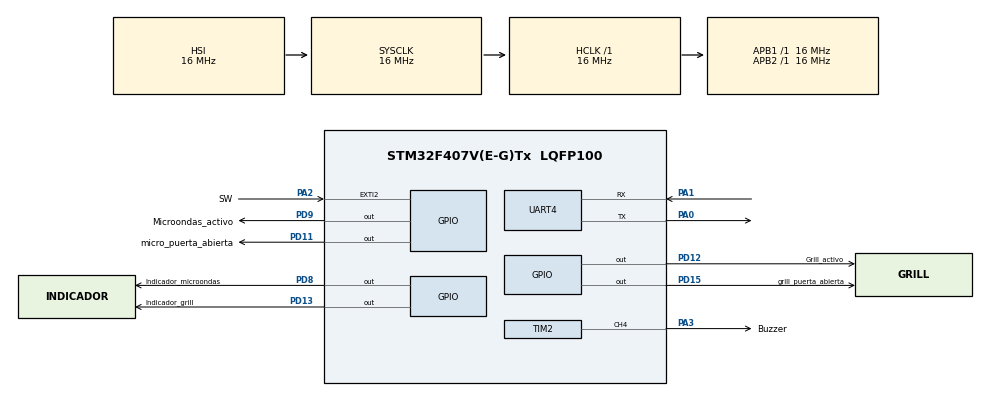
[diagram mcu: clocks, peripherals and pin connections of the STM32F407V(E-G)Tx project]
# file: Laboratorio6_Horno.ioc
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Mcu.Family=STM32F4
Mcu.Name=STM32F407V(E-G)Tx
Mcu.Package=LQFP100
NVIC.EXTI2_IRQn=true\:0\:0\:false\:false\:true\:true\:true\:true
NVIC.PriorityGroup=NVIC_PRIORITYGROUP_4
NVIC.TIM2_IRQn=true\:0\:0\:false\:false\:true\:true\:true\:true
NVIC.UART4_IRQn=true\:0\:0\:false\:false\:true\:true\:true\:true
PA0-WKUP.Mode=Asynchronous
PA0-WKUP.Signal=UART4_TX
PA1.Mode=Asynchronous
PA1.Signal=UART4_RX
PA2.GPIO_Label=SW
PA2.GPIO_ModeDefaultEXTI=GPIO_MODE_IT_FALLING
PA2.Signal=GPXTI2
PA3.GPIO_Label=Buzzer
PA3.Signal=S_TIM2_CH4
PD11.GPIO_Label=micro_puerta_abierta
PD11.Signal=GPIO_Output
PD12.GPIO_Label=Grill_activo
PD12.Signal=GPIO_Output
PD13.GPIO_Label=Indicador_grill
PD13.Signal=GPIO_Output
PD15.GPIO_Label=grill_puerta_abierta
PD15.Signal=GPIO_Output
PD8.GPIO_Label=Indicador_microondas
PD8.Signal=GPIO_Output
PD9.GPIO_Label=Microondas_activo
PD9.Signal=GPIO_Output
ProjectManager.HeapSize=0x200
ProjectManager.StackSize=0x400
ProjectManager.TargetToolchain=STM32CubeIDE
RCC.AHBFreq_Value=16000000
RCC.APB1Freq_Value=16000000
RCC.APB2Freq_Value=16000000
RCC.CortexFreq_Value=16000000
RCC.HSE_VALUE=25000000
RCC.HSI_VALUE=16000000
RCC.LSE_VALUE=32768
RCC.SYSCLKFreq_VALUE=16000000
RCC.VCOOutputFreq_Value=192000000
SH.S_TIM2_CH4.0=TIM2_CH4,PWM Generation4 CH4
TIM2.Channel-PWM\ Generation4\ CH4=TIM_CHANNEL_4
TIM2.Period=7999
TIM2.Pulse-PWM\ Generation4\ CH4=4000
UART4.VirtualMode=Asynchronous
VP_TIM2_VS_ClockSourceINT.Mode=Internal
board=custom

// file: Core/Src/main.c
/* USER CODE BEGIN Header */
/**
  ******************************************************************************
  * @file           : main.c
  * @brief          : Main program body
  ******************************************************************************
  * @attention
  *
  * Copyright (c) 2026 STMicroelectronics.
  * All rights reserved.
  *
  * This software is licensed under terms that can be found in the LICENSE file
  * in the root directory of this software component.
  * If no LICENSE file comes with this software, it is provided AS-IS.
  *
  ******************************************************************************
  */
/* USER CODE END Header */
#include "main.h"

/* USER CODE BEGIN Includes */
#include "uart.h"
/* USER CODE END Includes */

/* USER CODE BEGIN PTD */
#define T_REBOTE_MS 50U
/* USER CODE END PTD */

TIM_HandleTypeDef htim2;

UART_HandleTypeDef huart4;

/* USER CODE BEGIN PV */
uint8_t mensaje;
volatile uint8_t indice = 0;
volatile uint8_t instruccion[20];
volatile bool sw = false;
volatile uint32_t last_sw = 0;
volatile bool fin_instruccion = false;
Statechart mi_maquina;

uint32_t sc_timer_start = 0;
uint32_t sc_timer_delay = 0;
bool sc_timer_active = false;
sc_eventid sc_active_evid = NULL;
/* USER CODE END PV */

void SystemClock_Config(void);
static void MX_GPIO_Init(void);
static void MX_UART4_Init(void);
static void MX_TIM2_Init(void);

int main(void)
{

  /* USER CODE BEGIN 1 */
  uint32_t current_time = 0;
  /* USER CODE END 1 */

  /* MCU Configuration--------------------------------------------------------*/

  /* Reset of all peripherals, Initializes the Flash interface and the Systick. */
  HAL_Init();

  /* Configure the system clock */
  SystemClock_Config();

  /* Initialize all configured peripherals */
  MX_GPIO_Init();
  MX_UART4_Init();
  MX_TIM2_Init();
  /* USER CODE BEGIN 2 */
  statechart_init(&mi_maquina);
  statechart_enter(&mi_maquina);
  HAL_UART_Receive_IT(&huart4, &mensaje, sizeof(uint8_t));
  __HAL_UART_CLEAR_OREFLAG(&huart4);
  __HAL_UART_FLUSH_DRREGISTER(&huart4);
  static bool aviso_prev = false;
  bool aviso_actual = false;
  bool puerta_abierta = statechart_is_state_active(&mi_maquina, Statechart_main_region_Hornomicroondas_Puerta_Abierta);
  /* USER CODE END 2 */

  /* Infinite loop */
  while (1)
  {

    /* USER CODE BEGIN 3 */
	  if (sc_timer_active && ((HAL_GetTick() - sc_timer_start) >= sc_timer_delay))
	  {
		  sc_timer_active = false;
		  statechart_raise_time_event(&mi_maquina, sc_active_evid);
	  }
	  if(fin_instruccion)
	  {
		  ejecutar_instruccion();
	  }
	  if(sw)
	  {
		  current_time = HAL_GetTick();
		  if(current_time-last_sw > T_REBOTE_MS)
		  {
			  if(HAL_GPIO_ReadPin(SW_GPIO_Port, SW_Pin) == GPIO_PIN_RESET)
			  {
				  statechart_raise_startStop(&mi_maquina);
			  }
			  sw = false;
			  __HAL_GPIO_EXTI_CLEAR_IT(SW_Pin);
			  HAL_NVIC_ClearPendingIRQ(EXTI2_IRQn);
			  HAL_NVIC_EnableIRQ(EXTI2_IRQn);
		  }
	  }
	  statechart_trigger_without_event(&mi_maquina);

	  puerta_abierta = statechart_is_state_active(&mi_maquina, Statechart_main_region_Hornomicroondas_Puerta_Abierta);

	  HAL_GPIO_WritePin(Indicador_microondas_GPIO_Port, Indicador_microondas_Pin,
			  statechart_get_indicador_microondas(&mi_maquina) ? GPIO_PIN_SET : GPIO_PIN_RESET);
	  HAL_GPIO_WritePin(Indicador_grill_GPIO_Port, Indicador_grill_Pin,
			  statechart_get_indicador_grill(&mi_maquina) ? GPIO_PIN_SET : GPIO_PIN_RESET);
	  HAL_GPIO_WritePin(Microondas_activo_GPIO_Port, Microondas_activo_Pin,
			  statechart_get_microondas_activo(&mi_maquina) ? GPIO_PIN_SET : GPIO_PIN_RESET);
	  HAL_GPIO_WritePin(Grill_activo_GPIO_Port, Grill_activo_Pin,
			  statechart_get_grill_activo(&mi_maquina) ? GPIO_PIN_SET : GPIO_PIN_RESET);
	  HAL_GPIO_WritePin(micro_puerta_abierta_GPIO_Port, micro_puerta_abierta_Pin,
			  (puerta_abierta && statechart_get_indicador_microondas(&mi_maquina)) ? GPIO_PIN_SET : GPIO_PIN_RESET);
	  HAL_GPIO_WritePin(grill_puerta_abierta_GPIO_Port, grill_puerta_abierta_Pin,
			  (puerta_abierta && statechart_get_indicador_grill(&mi_maquina)) ? GPIO_PIN_SET : GPIO_PIN_RESET);
	  aviso_actual = statechart_get_aviso_activo(&mi_maquina);
	  if (aviso_actual != aviso_prev)
	  {
	      aviso_prev = aviso_actual;
	      if (aviso_actual)
	          HAL_TIM_PWM_Start(&htim2, TIM_CHANNEL_4);
	      else
	          HAL_TIM_PWM_Stop(&htim2, TIM_CHANNEL_4);
	  }
  }
  /* USER CODE END 3 */
}

void SystemClock_Config(void)
{
  RCC_OscInitTypeDef RCC_OscInitStruct = {0};
  RCC_ClkInitTypeDef RCC_ClkInitStruct = {0};

  /** Configure the main internal regulator output voltage
  */
  __HAL_RCC_PWR_CLK_ENABLE();
  __HAL_PWR_VOLTAGESCALING_CONFIG(PWR_REGULATOR_VOLTAGE_SCALE1);

  /** Initializes the RCC Oscillators according to the specified parameters
  * in the RCC_OscInitTypeDef structure.
  */
  RCC_OscInitStruct.OscillatorType = RCC_OSCILLATORTYPE_HSI;
  RCC_OscInitStruct.HSIState = RCC_HSI_ON;
  RCC_OscInitStruct.HSICalibrationValue = RCC_HSICALIBRATION_DEFAULT;
  RCC_OscInitStruct.PLL.PLLState = RCC_PLL_NONE;
  if (HAL_RCC_OscConfig(&RCC_OscInitStruct) != HAL_OK)
  {
    Error_Handler();
  }

  /** Initializes the CPU, AHB and APB buses clocks
  */
  RCC_ClkInitStruct.ClockType = RCC_CLOCKTYPE_HCLK|RCC_CLOCKTYPE_SYSCLK
                              |RCC_CLOCKTYPE_PCLK1|RCC_CLOCKTYPE_PCLK2;
  RCC_ClkInitStruct.SYSCLKSource = RCC_SYSCLKSOURCE_HSI;
  RCC_ClkInitStruct.AHBCLKDivider = RCC_SYSCLK_DIV1;
  RCC_ClkInitStruct.APB1CLKDivider = RCC_HCLK_DIV1;
  RCC_ClkInitStruct.APB2CLKDivider = RCC_HCLK_DIV1;

  if (HAL_RCC_ClockConfig(&RCC_ClkInitStruct, FLASH_LATENCY_0) != HAL_OK)
  {
    Error_Handler();
  }
}

static void MX_TIM2_Init(void)
{

  TIM_ClockConfigTypeDef sClockSourceConfig = {0};
  TIM_MasterConfigTypeDef sMasterConfig = {0};
  TIM_OC_InitTypeDef sConfigOC = {0};

  htim2.Instance = TIM2;
  htim2.Init.Prescaler = 0;
  htim2.Init.CounterMode = TIM_COUNTERMODE_UP;
  htim2.Init.Period = 7999;
  htim2.Init.ClockDivision = TIM_CLOCKDIVISION_DIV1;
  htim2.Init.AutoReloadPreload = TIM_AUTORELOAD_PRELOAD_DISABLE;
  if (HAL_TIM_Base_Init(&htim2) != HAL_OK)
  {
    Error_Handler();
  }
  sClockSourceConfig.ClockSource = TIM_CLOCKSOURCE_INTERNAL;
  if (HAL_TIM_ConfigClockSource(&htim2, &sClockSourceConfig) != HAL_OK)
  {
    Error_Handler();
  }
  if (HAL_TIM_PWM_Init(&htim2) != HAL_OK)
  {
    Error_Handler();
  }
  sMasterConfig.MasterOutputTrigger = TIM_TRGO_RESET;
  sMasterConfig.MasterSlaveMode = TIM_MASTERSLAVEMODE_DISABLE;
  if (HAL_TIMEx_MasterConfigSynchronization(&htim2, &sMasterConfig) != HAL_OK)
  {
    Error_Handler();
  }
  sConfigOC.OCMode = TIM_OCMODE_PWM1;
  sConfigOC.Pulse = 4000;
  sConfigOC.OCPolarity = TIM_OCPOLARITY_HIGH;
  sConfigOC.OCFastMode = TIM_OCFAST_DISABLE;
  if (HAL_TIM_PWM_ConfigChannel(&htim2, &sConfigOC, TIM_CHANNEL_4) != HAL_OK)
  {
    Error_Handler();
  }
  HAL_TIM_MspPostInit(&htim2);

}

static void MX_UART4_Init(void)
{

  huart4.Instance = UART4;
  huart4.Init.BaudRate = 115200;
  huart4.Init.WordLength = UART_WORDLENGTH_8B;
  huart4.Init.StopBits = UART_STOPBITS_1;
  huart4.Init.Parity = UART_PARITY_NONE;
  huart4.Init.Mode = UART_MODE_TX_RX;
  huart4.Init.HwFlowCtl = UART_HWCONTROL_NONE;
  huart4.Init.OverSampling = UART_OVERSAMPLING_16;
  if (HAL_UART_Init(&huart4) != HAL_OK)
  {
    Error_Handler();
  }

}

static void MX_GPIO_Init(void)
{
  GPIO_InitTypeDef GPIO_InitStruct = {0};

  /* GPIO Ports Clock Enable */
  __HAL_RCC_GPIOA_CLK_ENABLE();
  __HAL_RCC_GPIOD_CLK_ENABLE();

  /*Configure GPIO pin Output Level */
  HAL_GPIO_WritePin(GPIOD, Indicador_microondas_Pin|Microondas_activo_Pin|micro_puerta_abierta_Pin|Grill_activo_Pin
                          |Indicador_grill_Pin|grill_puerta_abierta_Pin, GPIO_PIN_RESET);

  /*Configure GPIO pin : SW_Pin */
  GPIO_InitStruct.Pin = SW_Pin;
  GPIO_InitStruct.Mode = GPIO_MODE_IT_FALLING;
  GPIO_InitStruct.Pull = GPIO_NOPULL;
  HAL_GPIO_Init(SW_GPIO_Port, &GPIO_InitStruct);

  /*Configure GPIO pins : Indicador_microondas_Pin Microondas_activo_Pin micro_puerta_abierta_Pin Grill_activo_Pin
                           Indicador_grill_Pin grill_puerta_abierta_Pin */
  GPIO_InitStruct.Pin = Indicador_microondas_Pin|Microondas_activo_Pin|micro_puerta_abierta_Pin|Grill_activo_Pin
                          |Indicador_grill_Pin|grill_puerta_abierta_Pin;
  GPIO_InitStruct.Mode = GPIO_MODE_OUTPUT_PP;
  GPIO_InitStruct.Pull = GPIO_NOPULL;
  GPIO_InitStruct.Speed = GPIO_SPEED_FREQ_LOW;
  HAL_GPIO_Init(GPIOD, &GPIO_InitStruct);

  /* EXTI interrupt init*/
  HAL_NVIC_SetPriority(EXTI2_IRQn, 0, 0);
  HAL_NVIC_EnableIRQ(EXTI2_IRQn);

}

/* USER CODE BEGIN 4 */
void HAL_GPIO_EXTI_Callback(uint16_t GPIO_Pin)
{
	if(GPIO_Pin == SW_Pin)
	{
		HAL_NVIC_DisableIRQ(EXTI2_IRQn);
		last_sw = HAL_GetTick();
		sw = true;
	}
}

void statechart_set_timer(Statechart* handle, const sc_eventid evid, const sc_time time_ms, const sc_boolean periodic)
{
	sc_active_evid = evid;
	sc_timer_delay = time_ms;
	sc_timer_start = HAL_GetTick();
	sc_timer_active = true;
}

void statechart_unset_timer(Statechart* handle, const sc_eventid evid)
{
	sc_timer_active = false;
}
/* USER CODE END 4 */

void Error_Handler(void)
{
  __disable_irq();
  while (1)
  {
  }
}
